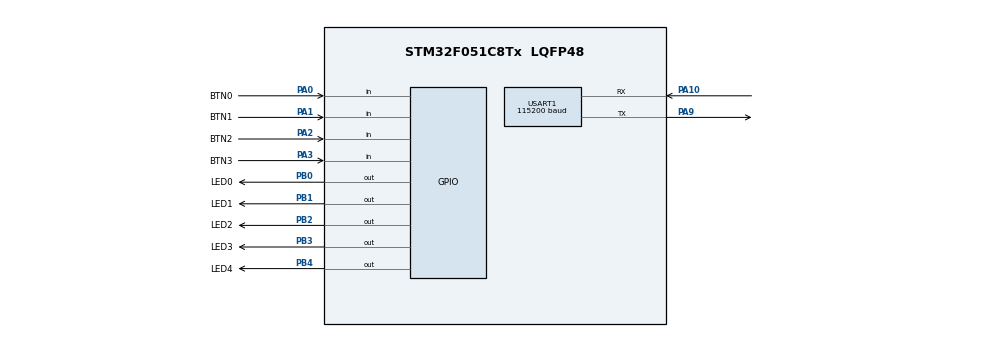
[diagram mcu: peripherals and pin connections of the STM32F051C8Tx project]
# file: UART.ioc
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Mcu.Family=STM32F0
Mcu.Name=STM32F051C8Tx
Mcu.Package=LQFP48
NVIC.USART1_IRQn=true\:0\:0\:false\:false\:true\:true\:true\:true
PA0.GPIO_Label=BTN0
PA0.Signal=GPIO_Input
PA1.GPIO_Label=BTN1
PA1.Signal=GPIO_Input
PA10.Mode=Asynchronous
PA10.Signal=USART1_RX
PA13.Mode=Serial_Wire
PA13.Signal=SYS_SWDIO
PA14.Mode=Serial_Wire
PA14.Signal=SYS_SWCLK
PA2.GPIO_Label=BTN2
PA2.Signal=GPIO_Input
PA3.GPIO_Label=BTN3
PA3.Signal=GPIO_Input
PA9.Mode=Asynchronous
PA9.Signal=USART1_TX
PB0.GPIO_Label=LED0
PB0.Signal=GPIO_Output
PB1.GPIO_Label=LED1
PB1.Signal=GPIO_Output
PB2.GPIO_Label=LED2
PB2.Signal=GPIO_Output
PB3.GPIO_Label=LED3
PB3.Signal=GPIO_Output
PB4.GPIO_Label=LED4
PB4.Signal=GPIO_Output
ProjectManager.HeapSize=0x200
ProjectManager.StackSize=0x400
ProjectManager.TargetToolchain=STM32CubeIDE
USART1.BaudRate=115200
USART1.VirtualMode-Asynchronous=VM_ASYNC
board=custom

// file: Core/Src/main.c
/* USER CODE BEGIN Header */
/**
  ******************************************************************************
  * @file           : main.c
  * @brief          : Main program body
  ******************************************************************************
  * @attention
  *
  * Copyright (c) 2026 STMicroelectronics.
  * All rights reserved.
  *
  * This software is licensed under terms that can be found in the LICENSE file
  * in the root directory of this software component.
  * If no LICENSE file comes with this software, it is provided AS-IS.
  *
  ******************************************************************************
  */
/* USER CODE END Header */
#include "main.h"

/* USER CODE BEGIN Includes */
#include <stdio.h>
#include <string.h>
/* USER CODE END Includes */

/* USER CODE BEGIN PTD */
typedef enum {
    STATE_IDLE,
    STATE_IN_PROGRESS,
    STATE_GAME_OVER
} GameState;
/* USER CODE END PTD */

/* USER CODE BEGIN PD */
#define RX_BUFFER_SIZE 64
/* USER CODE END PD */

UART_HandleTypeDef huart1;

/* USER CODE BEGIN PV */
GameState current_state = STATE_IDLE;
char board[6][7];
char current_player = 'X';
char winning_player = ' ';

uint8_t rx_byte;
char rx_buffer[RX_BUFFER_SIZE];
uint8_t rx_index = 0;
/* USER CODE END PV */

void SystemClock_Config(void);
static void MX_GPIO_Init(void);
static void MX_USART1_UART_Init(void);
/* USER CODE BEGIN PFP */
void ResetBoard(void);
void GetBoardString(char *dest);
int CheckWin(char p);
int CheckDraw(void);
void SendResponse(const char *resp);
void HandleCommand(char *cmd);
/* USER CODE END PFP */

/* USER CODE BEGIN 0 */
void ResetBoard(void) {
    for (int r = 0; r < 6; r++) {
        for (int c = 0; c < 7; c++) {
            board[r][c] = '.';
        }
    }
    current_player = 'X';
    winning_player = ' ';
}

void GetBoardString(char *dest) {
    int idx = 0;
    for (int r = 0; r < 6; r++) {
        for (int c = 0; c < 7; c++) {
            dest[idx++] = board[r][c];
        }
    }
    dest[42] = '\0';
}

int CheckWin(char p) {
    for (int r = 0; r < 6; r++) {
        for (int c = 0; c < 7; c++) {
            if (board[r][c] == p) {
                if (c + 3 < 7 && board[r][c+1] == p && board[r][c+2] == p && board[r][c+3] == p) return 1;
                if (r + 3 < 6 && board[r+1][c] == p && board[r+2][c] == p && board[r+3][c] == p) return 1;
                if (r + 3 < 6 && c + 3 < 7 && board[r+1][c+1] == p && board[r+2][c+2] == p && board[r+3][c+3] == p) return 1;
                if (r + 3 < 6 && c - 3 >= 0 && board[r+1][c-1] == p && board[r+2][c-2] == p && board[r+3][c-3] == p) return 1;
            }
        }
    }
    return 0;
}

int CheckDraw(void) {
    for (int c = 0; c < 7; c++) {
        if (board[0][c] == '.') return 0;
    }
    return 1;
}

void SendResponse(const char *resp) {
    char buffer[64];
    int len = snprintf(buffer, sizeof(buffer), "%s\r\n", resp);
    HAL_UART_Transmit(&huart1, (uint8_t*)buffer, (size_t)len, HAL_MAX_DELAY);
}

void HandleCommand(char *cmd) {
    if (strncmp(cmd, "CONNECT", (size_t)7) == 0) {
        current_state = STATE_IDLE;
        SendResponse("OK");
    }
    else if (strncmp(cmd, "NEW", (size_t)3) == 0) {
        ResetBoard();
        current_state = STATE_IN_PROGRESS;
        char bstr[43];
        GetBoardString(bstr);
        char resp[64];
        snprintf(resp, sizeof(resp), "OK: BOARD: %s", bstr);
        SendResponse(resp);
    }
    else if (strncmp(cmd, "STATE", (size_t)5) == 0) {
        if (current_state == STATE_IDLE) {
            SendResponse("NACK: NOGAME");
            return;
        }
        char bstr[43];
        GetBoardString(bstr);
        char resp[64];
        snprintf(resp, sizeof(resp), "BOARD: %s", bstr);
        SendResponse(resp);
    }
    else if (strncmp(cmd, "MOVE:", (size_t)5) == 0) {
        if (current_state != STATE_IN_PROGRESS) {
            SendResponse("NACK: NOGAME");
            return;
        }
        int col = cmd[5] - '0';
        if (col < 0 || col > 6) {
            SendResponse("NACK: RANGE");
            return;
        }

        // Check if top cell of column is already taken (Column full / occupied)
        if (board[0][col] != '.') {
            SendResponse("NACK: OCCUPIED");
            return;
        }

        int row = -1;
        for (int r = 5; r >= 0; r--) {
            if (board[r][col] == '.') {
                row = r;
                break;
            }
        }

        board[row][col] = current_player;

        if (CheckWin(current_player)) {
            winning_player = current_player;
            char winmsg[16];
            snprintf(winmsg, sizeof(winmsg), "WIN:%c", current_player);
            current_state = STATE_GAME_OVER;
            SendResponse(winmsg);
        } else if (CheckDraw()) {
            current_state = STATE_GAME_OVER;
            SendResponse("DRAW");
        } else {
            current_player = (current_player == 'X') ? 'O' : 'X';
            char bstr[43];
            GetBoardString(bstr);
            char resp[64];
            snprintf(resp, sizeof(resp), "OK: BOARD: %s", bstr);
            SendResponse(resp);
        }
    }
    else if (strncmp(cmd, "RESIGN", (size_t)6) == 0) {
        if (current_state == STATE_IN_PROGRESS) {
            current_state = STATE_GAME_OVER;
            SendResponse("OK: GAMEOVER");
        } else {
            SendResponse("NACK: NOGAME");
        }
    }
    else if (strncmp(cmd, "DISCONNECT", (size_t)10) == 0) {
        current_state = STATE_IDLE;
        SendResponse("OK");
    }
    else {
        SendResponse("NACK: BADCMD");
    }
}
/* USER CODE END 0 */

int main(void)
{

  /* MCU Configuration--------------------------------------------------------*/

  /* Reset of all peripherals, Initializes the Flash interface and the Systick. */
  HAL_Init();

  /* Configure the system clock */
  SystemClock_Config();

  /* Initialize all configured peripherals */
  MX_GPIO_Init();
  MX_USART1_UART_Init();
  /* USER CODE BEGIN 2 */
  ResetBoard();
  HAL_UART_Receive_IT(&huart1, &rx_byte, 1);
  /* USER CODE END 2 */

  /* Infinite loop */
  /* USER CODE BEGIN WHILE */
  static uint32_t last_blink_tick = 0;
  static GPIO_PinState led_state = GPIO_PIN_RESET;

  while (1)
  {
    uint32_t current_tick = HAL_GetTick();

    // LED Management according to your specifications
    if (current_state == STATE_IDLE) {
        // PB0 ON while connected/idle, PB1 and PB2 OFF
        HAL_GPIO_WritePin(GPIOB, LED0_Pin, GPIO_PIN_SET);
        HAL_GPIO_WritePin(GPIOB, LED1_Pin, GPIO_PIN_RESET);
        HAL_GPIO_WritePin(GPIOB, LED2_Pin, GPIO_PIN_RESET);
    }
    else if (current_state == STATE_IN_PROGRESS) {
        // PB0 remains ON during active game
        HAL_GPIO_WritePin(GPIOB, LED0_Pin, GPIO_PIN_SET);

        // PB1 ON when X is playing, PB2 ON when O is playing
        if (current_player == 'X') {
            HAL_GPIO_WritePin(GPIOB, LED1_Pin, GPIO_PIN_SET);
            HAL_GPIO_WritePin(GPIOB, LED2_Pin, GPIO_PIN_RESET);
        } else {
            HAL_GPIO_WritePin(GPIOB, LED1_Pin, GPIO_PIN_RESET);
            HAL_GPIO_WritePin(GPIOB, LED2_Pin, GPIO_PIN_SET);
        }
    }
    else if (current_state == STATE_GAME_OVER) {
        // PB0 stays ON (connected)
        HAL_GPIO_WritePin(GPIOB, LED0_Pin, GPIO_PIN_SET);

        // PB1 blinks if X won, PB2 blinks if O won
        if (current_tick - last_blink_tick >= 250) {
            last_blink_tick = current_tick;
            led_state = (led_state == GPIO_PIN_RESET) ? GPIO_PIN_SET : GPIO_PIN_RESET;

            if (winning_player == 'X') {
                HAL_GPIO_WritePin(GPIOB, LED1_Pin, led_state);
                HAL_GPIO_WritePin(GPIOB, LED2_Pin, GPIO_PIN_RESET);
            } else if (winning_player == 'O') {
                HAL_GPIO_WritePin(GPIOB, LED2_Pin, led_state);
                HAL_GPIO_WritePin(GPIOB, LED1_Pin, GPIO_PIN_RESET);
            } else {
                // Draw or Resign
                HAL_GPIO_WritePin(GPIOB, LED1_Pin, GPIO_PIN_RESET);
                HAL_GPIO_WritePin(GPIOB, LED2_Pin, GPIO_PIN_RESET);
            }
        }
    }
    /* USER CODE END WHILE */

  }
}

void SystemClock_Config(void)
{
  RCC_OscInitTypeDef RCC_OscInitStruct = {0};
  RCC_ClkInitTypeDef RCC_ClkInitStruct = {0};
  RCC_PeriphCLKInitTypeDef PeriphClkInit = {0};

  /** Initializes the RCC Oscillators according to the specified parameters
  * in the RCC_OscInitTypeDef structure.
  */
  RCC_OscInitStruct.OscillatorType = RCC_OSCILLATORTYPE_HSI;
  RCC_OscInitStruct.HSIState = RCC_HSI_ON;
  RCC_OscInitStruct.HSICalibrationValue = RCC_HSICALIBRATION_DEFAULT;
  RCC_OscInitStruct.PLL.PLLState = RCC_PLL_NONE;
  if (HAL_RCC_OscConfig(&RCC_OscInitStruct) != HAL_OK)
  {
    Error_Handler();
  }

  /** Initializes the CPU, AHB and APB buses clocks
  */
  RCC_ClkInitStruct.ClockType = RCC_CLOCKTYPE_HCLK|RCC_CLOCKTYPE_SYSCLK
                              |RCC_CLOCKTYPE_PCLK1;
  RCC_ClkInitStruct.SYSCLKSource = RCC_SYSCLKSOURCE_HSI;
  RCC_ClkInitStruct.AHBCLKDivider = RCC_SYSCLK_DIV1;
  RCC_ClkInitStruct.APB1CLKDivider = RCC_HCLK_DIV1;

  if (HAL_RCC_ClockConfig(&RCC_ClkInitStruct, FLASH_LATENCY_0) != HAL_OK)
  {
    Error_Handler();
  }
  PeriphClkInit.PeriphClockSelection = RCC_PERIPHCLK_USART1;
  PeriphClkInit.Usart1ClockSelection = RCC_USART1CLKSOURCE_PCLK1;
  if (HAL_RCCEx_PeriphCLKConfig(&PeriphClkInit) != HAL_OK)
  {
    Error_Handler();
  }
}

static void MX_USART1_UART_Init(void)
{
  huart1.Instance = USART1;
  huart1.Init.BaudRate = 115200;
  huart1.Init.WordLength = UART_WORDLENGTH_8B;
  huart1.Init.StopBits = UART_STOPBITS_1;
  huart1.Init.Parity = UART_PARITY_NONE;
  huart1.Init.Mode = UART_MODE_TX_RX;
  huart1.Init.HwFlowCtl = UART_HWCONTROL_NONE;
  huart1.Init.OverSampling = UART_OVERSAMPLING_16;
  huart1.Init.OneBitSampling = UART_ONE_BIT_SAMPLE_DISABLE;
  huart1.AdvancedInit.AdvFeatureInit = UART_ADVFEATURE_NO_INIT;
  if (HAL_UART_Init(&huart1) != HAL_OK)
  {
    Error_Handler();
  }
}

static void MX_GPIO_Init(void)
{
  GPIO_InitTypeDef GPIO_InitStruct = {0};

  /* GPIO Ports Clock Enable */
  __HAL_RCC_GPIOA_CLK_ENABLE();
  __HAL_RCC_GPIOB_CLK_ENABLE();

  /*Configure GPIO pin Output Level */
  HAL_GPIO_WritePin(GPIOB, LED0_Pin|LED1_Pin|LED2_Pin|LED3_Pin
                          |LED4_Pin, GPIO_PIN_RESET);

  /*Configure GPIO pins : BTN0_Pin BTN1_Pin BTN2_Pin BTN3_Pin */
  GPIO_InitStruct.Pin = BTN0_Pin|BTN1_Pin|BTN2_Pin|BTN3_Pin;
  GPIO_InitStruct.Mode = GPIO_MODE_INPUT;
  GPIO_InitStruct.Pull = GPIO_NOPULL;
  HAL_GPIO_Init(GPIOA, &GPIO_InitStruct);

  /*Configure GPIO pins : LED0_Pin LED1_Pin LED2_Pin LED3_Pin
                           LED4_Pin */
  GPIO_InitStruct.Pin = LED0_Pin|LED1_Pin|LED2_Pin|LED3_Pin
                          |LED4_Pin;
  GPIO_InitStruct.Mode = GPIO_MODE_OUTPUT_PP;
  GPIO_InitStruct.Pull = GPIO_NOPULL;
  GPIO_InitStruct.Speed = GPIO_SPEED_FREQ_LOW;
  HAL_GPIO_Init(GPIOB, &GPIO_InitStruct);
}

/* USER CODE BEGIN 4 */
void HAL_UART_RxCpltCallback(UART_HandleTypeDef *huart) {
    if (huart->Instance == USART1) {
        if (rx_byte == '\n' || rx_byte == '\r') {
            if (rx_index > 0) {
                rx_buffer[rx_index] = '\0';
                HandleCommand(rx_buffer);
                rx_index = 0;
            }
        } else {
            if (rx_index < RX_BUFFER_SIZE - 1) {
                rx_buffer[rx_index++] = rx_byte;
            } else {
                rx_index = 0;
            }
        }
        HAL_UART_Receive_IT(&huart1, &rx_byte, 1);
    }
}
/* USER CODE END 4 */

void Error_Handler(void)
{
  __disable_irq();
  while (1)
  {
  }
}
